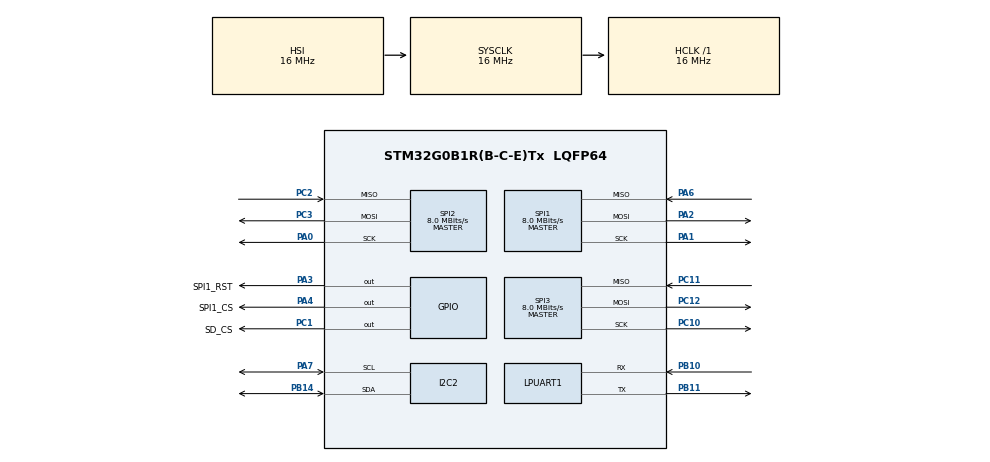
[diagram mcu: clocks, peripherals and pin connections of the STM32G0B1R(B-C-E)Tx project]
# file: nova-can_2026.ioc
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Dma.LPUART1_RX.0.Direction=DMA_PERIPH_TO_MEMORY
Dma.LPUART1_RX.0.EventEnable=DISABLE
Dma.LPUART1_RX.0.Instance=DMA1_Channel1
Dma.LPUART1_RX.0.MemDataAlignment=DMA_MDATAALIGN_BYTE
Dma.LPUART1_RX.0.MemInc=DMA_MINC_ENABLE
Dma.LPUART1_RX.0.Mode=DMA_NORMAL
Dma.LPUART1_RX.0.PeriphDataAlignment=DMA_PDATAALIGN_BYTE
Dma.LPUART1_RX.0.PeriphInc=DMA_PINC_DISABLE
Dma.LPUART1_RX.0.Polarity=HAL_DMAMUX_REQ_GEN_RISING
Dma.LPUART1_RX.0.Priority=DMA_PRIORITY_LOW
Dma.LPUART1_RX.0.RequestNumber=1
Dma.LPUART1_RX.0.SignalID=NONE
Dma.LPUART1_RX.0.SyncEnable=DISABLE
Dma.LPUART1_RX.0.SyncPolarity=HAL_DMAMUX_SYNC_NO_EVENT
Dma.LPUART1_RX.0.SyncRequestNumber=1
Dma.LPUART1_RX.0.SyncSignalID=NONE
Dma.Request0=LPUART1_RX
I2C2.Timing=0x00503D58
Mcu.Family=STM32G0
Mcu.Name=STM32G0B1R(B-C-E)Tx
Mcu.Package=LQFP64
NVIC.DMA1_Channel1_IRQn=true\:0\:0\:false\:false\:true\:false\:true\:true
PA0.Mode=Full_Duplex_Master
PA0.Signal=SPI2_SCK
PA1.Mode=Full_Duplex_Master
PA1.Signal=SPI1_SCK
PA13.Mode=Serial_Wire
PA13.Signal=SYS_SWDIO
PA14-BOOT0.Mode=Serial_Wire
PA14-BOOT0.Signal=SYS_SWCLK
PA2.Mode=Full_Duplex_Master
PA2.Signal=SPI1_MOSI
PA3.GPIO_Label=SPI1_RST
PA3.Signal=GPIO_Output
PA4.GPIO_Label=SPI1_CS
PA4.Signal=GPIO_Output
PA6.Mode=Full_Duplex_Master
PA6.Signal=SPI1_MISO
PA7.Mode=I2C
PA7.Signal=I2C2_SCL
PB10.Mode=Asynchronous
PB10.Signal=LPUART1_RX
PB11.Mode=Asynchronous
PB11.Signal=LPUART1_TX
PB14.Mode=I2C
PB14.Signal=I2C2_SDA
PC1.GPIO_Label=SD_CS
PC1.Signal=GPIO_Output
PC10.Mode=Full_Duplex_Master
PC10.Signal=SPI3_SCK
PC11.Mode=Full_Duplex_Master
PC11.Signal=SPI3_MISO
PC12.Mode=Full_Duplex_Master
PC12.Signal=SPI3_MOSI
PC2.Mode=Full_Duplex_Master
PC2.Signal=SPI2_MISO
PC3.Mode=Full_Duplex_Master
PC3.Signal=SPI2_MOSI
ProjectManager.HeapSize=0x200
ProjectManager.StackSize=0x400
ProjectManager.TargetToolchain=CMake
RCC.AHBFreq_Value=16000000
RCC.CortexFreq_Value=16000000
RCC.EXTERNAL_CLOCK_VALUE=48000
RCC.HCLKFreq_Value=16000000
RCC.HSE_VALUE=8000000
RCC.HSI48_VALUE=48000000
RCC.HSI_VALUE=16000000
RCC.LSE_VALUE=32768
RCC.SYSCLKFreq_VALUE=16000000
RCC.USBFreq_Value=48000000
RCC.VCOOutputFreq_Value=128000000
SPI1.CalculateBaudRate=8.0 MBits/s
SPI1.Direction=SPI_DIRECTION_2LINES
SPI1.Mode=SPI_MODE_MASTER
SPI1.VirtualType=VM_MASTER
SPI2.CalculateBaudRate=8.0 MBits/s
SPI2.Direction=SPI_DIRECTION_2LINES
SPI2.Mode=SPI_MODE_MASTER
SPI2.VirtualType=VM_MASTER
SPI3.CalculateBaudRate=8.0 MBits/s
SPI3.Direction=SPI_DIRECTION_2LINES
SPI3.Mode=SPI_MODE_MASTER
SPI3.VirtualType=VM_MASTER
VP_FATFS_VS_Generic.Mode=User_defined
VP_SYS_VS_DBSignals.Mode=DisableDeadBatterySignals
board=custom

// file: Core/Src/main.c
/* USER CODE BEGIN Header */
/**
  ******************************************************************************
  * @file           : main.c
  * @brief          : Main program body
  ******************************************************************************
  * @attention
  *
  * This file is part of the NovaCan project.
  *
  * Copyright (C) 2025 NovaCan, Sam Vandenabeele
  *
  * This program is free software: you can redistribute it and/or modify
  * it under the terms of the GNU General Public License as published by
  * the Free Software Foundation, either version 3 of the License, or
  * (at your option) any later version.
  *
  * This program is distributed in the hope that it will be useful,
  * but WITHOUT ANY WARRANTY; without even the implied warranty of
  * MERCHANTABILITY or FITNESS FOR A PARTICULAR PURPOSE.  See the
  * GNU General Public License for more details.
  *
  ******************************************************************************
**/
/* USER CODE END Header */
#include "main.h"
/* USER CODE BEGIN Includes */
#include "RFM98.h"
#include "bme280.h"
#include "nmea_parse.h"
#include <stdio.h>
#include <string.h>
#include <stdarg.h>
/* USER CODE END Includes */

I2C_HandleTypeDef hi2c2;

UART_HandleTypeDef hlpuart1;
DMA_HandleTypeDef hdma_lpuart1_rx;

SPI_HandleTypeDef hspi1;
SPI_HandleTypeDef hspi2;
SPI_HandleTypeDef hspi3;

/* USER CODE BEGIN PV */
BME280_HandleTypedef bme280;
BME280_Data bme280_data;

#define RxBuffer_SIZE 64  //configure uart receive buffer size
#define DataBuffer_SIZE 512 //gather a few rxBuffer frames before parsing

// Functions for UART receiving, based on the DMA receive function, implementations may vary
uint16_t oldPos = 0;
uint16_t newPos = 0;
uint8_t RxBuffer[RxBuffer_SIZE];
uint8_t DataBuffer[DataBuffer_SIZE];

//create a GPS data structure
GPS myData;

/* USER CODE END PV */

void SystemClock_Config(void);
static void MX_GPIO_Init(void);
static void MX_DMA_Init(void);
static void MX_LPUART1_UART_Init(void);
static void MX_SPI1_Init(void);
static void MX_SPI2_Init(void);
static void MX_SPI3_Init(void);
static void MX_I2C2_Init(void);
/* USER CODE BEGIN PFP */
void myprintf(const char *fmt, ...);
/* USER CODE END PFP */

int main(void)
{

  /* MCU Configuration--------------------------------------------------------*/

  /* Reset of all peripherals, Initializes the Flash interface and the Systick. */
  HAL_Init();

  /* Configure the system clock */
  SystemClock_Config();

  /* Initialize all configured peripherals */
  MX_GPIO_Init();
  MX_DMA_Init();
  MX_LPUART1_UART_Init();
  MX_SPI1_Init();
  MX_SPI2_Init();
  MX_SPI3_Init();
  MX_I2C2_Init();
  /* USER CODE BEGIN 2 */
  bme280.hspi = &hspi3; // Assuming hspi1 is used for BME280
  bme280.cs_port = GPIOB; // Assuming CS pin is on GPIOB
  bme280.cs_pin = GPIO_PIN_6; // Assuming CS pin is PB6

  HAL_Delay(1000);
  /* USER CODE END 2 */

  /* Infinite loop */
  while (1)
  {

    /* USER CODE BEGIN 3 */
    nmea_parse(&myData, DataBuffer);

    if(myData.fix == 1){ //if the GPS has a fix, print the data
      char * str = (char*)malloc(sizeof(char)*200);
      BME280_ReadData(&bme280, &bme280_data);
      sprintf(str, "\r\n%f %c, %f %c, %f, %d, %f, %f, %f\r\n",
              myData.latitude, myData.latSide, myData.longitude, myData.lonSide, myData.altitude, myData.satelliteCount, myData.hdop, bme280_data.temperature, bme280_data.humidity);
      free(str);
      RFM98_Transmit((uint8_t *)&str, sizeof(str));
    }
  }
  /* USER CODE END 3 */
}

void SystemClock_Config(void)
{
  RCC_OscInitTypeDef RCC_OscInitStruct = {0};
  RCC_ClkInitTypeDef RCC_ClkInitStruct = {0};

  /** Configure the main internal regulator output voltage
  */
  HAL_PWREx_ControlVoltageScaling(PWR_REGULATOR_VOLTAGE_SCALE1);

  /** Initializes the RCC Oscillators according to the specified parameters
  * in the RCC_OscInitTypeDef structure.
  */
  RCC_OscInitStruct.OscillatorType = RCC_OSCILLATORTYPE_HSI;
  RCC_OscInitStruct.HSIState = RCC_HSI_ON;
  RCC_OscInitStruct.HSIDiv = RCC_HSI_DIV1;
  RCC_OscInitStruct.HSICalibrationValue = RCC_HSICALIBRATION_DEFAULT;
  RCC_OscInitStruct.PLL.PLLState = RCC_PLL_NONE;
  if (HAL_RCC_OscConfig(&RCC_OscInitStruct) != HAL_OK)
  {
    Error_Handler();
  }

  /** Initializes the CPU, AHB and APB buses clocks
  */
  RCC_ClkInitStruct.ClockType = RCC_CLOCKTYPE_HCLK|RCC_CLOCKTYPE_SYSCLK
                              |RCC_CLOCKTYPE_PCLK1;
  RCC_ClkInitStruct.SYSCLKSource = RCC_SYSCLKSOURCE_HSI;
  RCC_ClkInitStruct.AHBCLKDivider = RCC_SYSCLK_DIV1;
  RCC_ClkInitStruct.APB1CLKDivider = RCC_HCLK_DIV1;

  if (HAL_RCC_ClockConfig(&RCC_ClkInitStruct, FLASH_LATENCY_0) != HAL_OK)
  {
    Error_Handler();
  }
}

static void MX_I2C2_Init(void)
{

  hi2c2.Instance = I2C2;
  hi2c2.Init.Timing = 0x00503D58;
  hi2c2.Init.OwnAddress1 = 0;
  hi2c2.Init.AddressingMode = I2C_ADDRESSINGMODE_7BIT;
  hi2c2.Init.DualAddressMode = I2C_DUALADDRESS_DISABLE;
  hi2c2.Init.OwnAddress2 = 0;
  hi2c2.Init.OwnAddress2Masks = I2C_OA2_NOMASK;
  hi2c2.Init.GeneralCallMode = I2C_GENERALCALL_DISABLE;
  hi2c2.Init.NoStretchMode = I2C_NOSTRETCH_DISABLE;
  if (HAL_I2C_Init(&hi2c2) != HAL_OK)
  {
    Error_Handler();
  }

  /** Configure Analogue filter
  */
  if (HAL_I2CEx_ConfigAnalogFilter(&hi2c2, I2C_ANALOGFILTER_ENABLE) != HAL_OK)
  {
    Error_Handler();
  }

  /** Configure Digital filter
  */
  if (HAL_I2CEx_ConfigDigitalFilter(&hi2c2, 0) != HAL_OK)
  {
    Error_Handler();
  }

}

static void MX_LPUART1_UART_Init(void)
{

  hlpuart1.Instance = LPUART1;
  hlpuart1.Init.BaudRate = 209700;
  hlpuart1.Init.WordLength = UART_WORDLENGTH_7B;
  hlpuart1.Init.StopBits = UART_STOPBITS_1;
  hlpuart1.Init.Parity = UART_PARITY_NONE;
  hlpuart1.Init.Mode = UART_MODE_TX_RX;
  hlpuart1.Init.HwFlowCtl = UART_HWCONTROL_NONE;
  hlpuart1.Init.OneBitSampling = UART_ONE_BIT_SAMPLE_DISABLE;
  hlpuart1.Init.ClockPrescaler = UART_PRESCALER_DIV1;
  hlpuart1.AdvancedInit.AdvFeatureInit = UART_ADVFEATURE_NO_INIT;
  hlpuart1.FifoMode = UART_FIFOMODE_DISABLE;
  if (HAL_UART_Init(&hlpuart1) != HAL_OK)
  {
    Error_Handler();
  }
  if (HAL_UARTEx_SetTxFifoThreshold(&hlpuart1, UART_TXFIFO_THRESHOLD_1_8) != HAL_OK)
  {
    Error_Handler();
  }
  if (HAL_UARTEx_SetRxFifoThreshold(&hlpuart1, UART_RXFIFO_THRESHOLD_1_8) != HAL_OK)
  {
    Error_Handler();
  }
  if (HAL_UARTEx_DisableFifoMode(&hlpuart1) != HAL_OK)
  {
    Error_Handler();
  }

}

static void MX_SPI1_Init(void)
{

  /* SPI1 parameter configuration*/
  hspi1.Instance = SPI1;
  hspi1.Init.Mode = SPI_MODE_MASTER;
  hspi1.Init.Direction = SPI_DIRECTION_2LINES;
  hspi1.Init.DataSize = SPI_DATASIZE_4BIT;
  hspi1.Init.CLKPolarity = SPI_POLARITY_LOW;
  hspi1.Init.CLKPhase = SPI_PHASE_1EDGE;
  hspi1.Init.NSS = SPI_NSS_SOFT;
  hspi1.Init.BaudRatePrescaler = SPI_BAUDRATEPRESCALER_2;
  hspi1.Init.FirstBit = SPI_FIRSTBIT_MSB;
  hspi1.Init.TIMode = SPI_TIMODE_DISABLE;
  hspi1.Init.CRCCalculation = SPI_CRCCALCULATION_DISABLE;
  hspi1.Init.CRCPolynomial = 7;
  hspi1.Init.CRCLength = SPI_CRC_LENGTH_DATASIZE;
  hspi1.Init.NSSPMode = SPI_NSS_PULSE_ENABLE;
  if (HAL_SPI_Init(&hspi1) != HAL_OK)
  {
    Error_Handler();
  }

}

static void MX_SPI2_Init(void)
{

  /* SPI2 parameter configuration*/
  hspi2.Instance = SPI2;
  hspi2.Init.Mode = SPI_MODE_MASTER;
  hspi2.Init.Direction = SPI_DIRECTION_2LINES;
  hspi2.Init.DataSize = SPI_DATASIZE_4BIT;
  hspi2.Init.CLKPolarity = SPI_POLARITY_LOW;
  hspi2.Init.CLKPhase = SPI_PHASE_1EDGE;
  hspi2.Init.NSS = SPI_NSS_SOFT;
  hspi2.Init.BaudRatePrescaler = SPI_BAUDRATEPRESCALER_2;
  hspi2.Init.FirstBit = SPI_FIRSTBIT_MSB;
  hspi2.Init.TIMode = SPI_TIMODE_DISABLE;
  hspi2.Init.CRCCalculation = SPI_CRCCALCULATION_DISABLE;
  hspi2.Init.CRCPolynomial = 7;
  hspi2.Init.CRCLength = SPI_CRC_LENGTH_DATASIZE;
  hspi2.Init.NSSPMode = SPI_NSS_PULSE_ENABLE;
  if (HAL_SPI_Init(&hspi2) != HAL_OK)
  {
    Error_Handler();
  }

}

static void MX_SPI3_Init(void)
{

  /* SPI3 parameter configuration*/
  hspi3.Instance = SPI3;
  hspi3.Init.Mode = SPI_MODE_MASTER;
  hspi3.Init.Direction = SPI_DIRECTION_2LINES;
  hspi3.Init.DataSize = SPI_DATASIZE_4BIT;
  hspi3.Init.CLKPolarity = SPI_POLARITY_LOW;
  hspi3.Init.CLKPhase = SPI_PHASE_1EDGE;
  hspi3.Init.NSS = SPI_NSS_SOFT;
  hspi3.Init.BaudRatePrescaler = SPI_BAUDRATEPRESCALER_2;
  hspi3.Init.FirstBit = SPI_FIRSTBIT_MSB;
  hspi3.Init.TIMode = SPI_TIMODE_DISABLE;
  hspi3.Init.CRCCalculation = SPI_CRCCALCULATION_DISABLE;
  hspi3.Init.CRCPolynomial = 7;
  hspi3.Init.CRCLength = SPI_CRC_LENGTH_DATASIZE;
  hspi3.Init.NSSPMode = SPI_NSS_PULSE_ENABLE;
  if (HAL_SPI_Init(&hspi3) != HAL_OK)
  {
    Error_Handler();
  }

}

static void MX_DMA_Init(void)
{

  /* DMA controller clock enable */
  __HAL_RCC_DMA1_CLK_ENABLE();

  /* DMA interrupt init */
  /* DMA1_Channel1_IRQn interrupt configuration */
  HAL_NVIC_SetPriority(DMA1_Channel1_IRQn, 0, 0);
  HAL_NVIC_EnableIRQ(DMA1_Channel1_IRQn);

}

static void MX_GPIO_Init(void)
{
  GPIO_InitTypeDef GPIO_InitStruct = {0};

  /* GPIO Ports Clock Enable */
  __HAL_RCC_GPIOC_CLK_ENABLE();
  __HAL_RCC_GPIOA_CLK_ENABLE();
  __HAL_RCC_GPIOB_CLK_ENABLE();

  /*Configure GPIO pin Output Level */
  HAL_GPIO_WritePin(SD_CS_GPIO_Port, SD_CS_Pin, GPIO_PIN_RESET);

  /*Configure GPIO pin Output Level */
  HAL_GPIO_WritePin(GPIOA, SPI1_RST_Pin|SPI1_CS_Pin, GPIO_PIN_RESET);

  /*Configure GPIO pin : SD_CS_Pin */
  GPIO_InitStruct.Pin = SD_CS_Pin;
  GPIO_InitStruct.Mode = GPIO_MODE_OUTPUT_PP;
  GPIO_InitStruct.Pull = GPIO_NOPULL;
  GPIO_InitStruct.Speed = GPIO_SPEED_FREQ_LOW;
  HAL_GPIO_Init(SD_CS_GPIO_Port, &GPIO_InitStruct);

  /*Configure GPIO pins : SPI1_RST_Pin SPI1_CS_Pin */
  GPIO_InitStruct.Pin = SPI1_RST_Pin|SPI1_CS_Pin;
  GPIO_InitStruct.Mode = GPIO_MODE_OUTPUT_PP;
  GPIO_InitStruct.Pull = GPIO_NOPULL;
  GPIO_InitStruct.Speed = GPIO_SPEED_FREQ_LOW;
  HAL_GPIO_Init(GPIOA, &GPIO_InitStruct);

}

/* USER CODE BEGIN 4 */
void myprintf(const char *fmt, ...) {
  static char buffer[256];
  va_list args;
  va_start(args, fmt);
  vsnprintf(buffer, sizeof(buffer), fmt, args);
  va_end(args);

  int len = strlen(buffer);
  HAL_UART_Transmit(&hlpuart1, (uint8_t*)buffer, len, -1);
}

void HAL_UARTEx_RxEventCallback(UART_HandleTypeDef *huart, uint16_t Size)
{
  oldPos = newPos; //keep track of the last position in the buffer
  if(oldPos + Size > DataBuffer_SIZE){ //if the buffer is full, parse it, then reset the buffer

    uint16_t datatocopy = DataBuffer_SIZE-oldPos;  // find out how much space is left in the main buffer
    memcpy ((uint8_t *)DataBuffer+oldPos, RxBuffer, datatocopy);  // copy data in that remaining space

    oldPos = 0;  // point to the start of the buffer
    memcpy ((uint8_t *)DataBuffer, (uint8_t *)RxBuffer+datatocopy, (Size-datatocopy));  // copy the remaining data
    newPos = (Size-datatocopy);  // update the position
  }
  else{
    memcpy((uint8_t *)DataBuffer+oldPos, RxBuffer, Size); //copy received data to the buffer
    newPos = Size+oldPos; //update buffer position

  }
  HAL_UARTEx_ReceiveToIdle_DMA(huart, (uint8_t *)RxBuffer, RxBuffer_SIZE); //re-enable the DMA interrupt
  __HAL_DMA_DISABLE_IT(&hdma_lpuart1_rx, DMA_IT_HT); //disable the half transfer interrupt
}
/* USER CODE END 4 */

void Error_Handler(void)
{
  __disable_irq();
  while (1)
  {
  }
}
